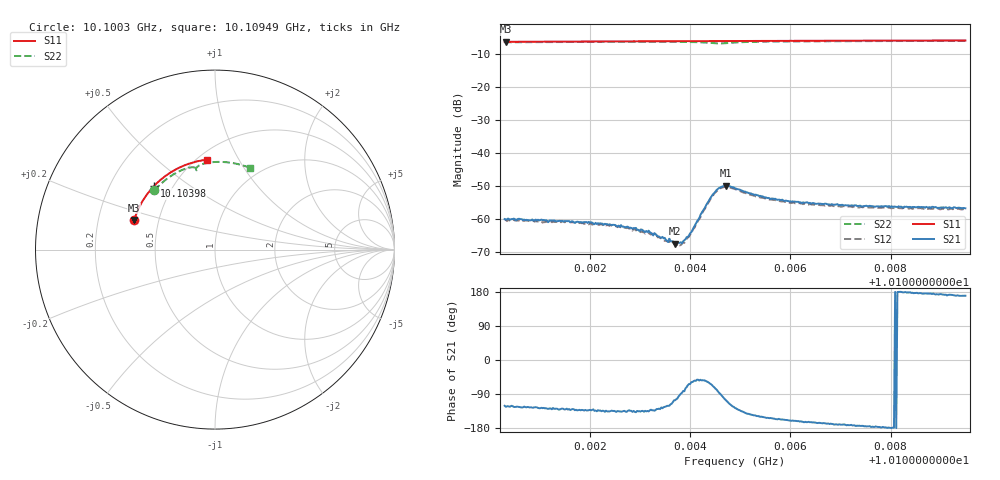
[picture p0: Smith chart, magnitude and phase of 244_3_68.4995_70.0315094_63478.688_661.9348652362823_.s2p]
#  HZ  S  RI  R  50.00
! Rohde & Schwarz Vector Network Analyzer
! Rohde-Schwarz,ZNB20-2Port,1311601062101988,3.16
! Created: UTC 3/20/2024, 4:59:35 PM
! freq[Hz]  re:S11  im:S11  re:S21  im:S21  re:S12  im:S12  re:S22  im:S22
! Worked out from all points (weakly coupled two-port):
!   401 points, 10.1003 GHz to 10.10949 GHz, reference 50 ohm
!   highest |S21| = -49.93 dB at 10.10471 GHz (marker M1); lowest = -67.5 dB at 10.1037 GHz (marker M2)
!   lowest |S11| = -6.4 dB at 10.10032 GHz (marker M3), VSWR 2.84, Z = 18.1 + j7.72 ohm
!   |S11| at or under -10 dB: nowhere
!   |S22| runs from -6.9 to -6.1 dB; largest |S21 - S12| = 0.00033
!   S11 on the Smith chart (normalised r, x): 10.1003 GHz: 0.36, +0.15; 10.10398 GHz: 0.40, +0.37; 10.10949 GHz: 0.56, +0.74
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1.0100297e10  -0.451 0.163  -0.000513 -0.00086  -0.000447 -0.000859  -0.3374 0.3302
1.010032e10  -0.4505 0.1644  -0.000542 -0.000826  -0.00047 -0.000862  -0.3365 0.3315
1.0101838e10  -0.4152 0.2497  -0.000594 -0.000666  -0.000528 -0.000689  -0.2637 0.3974
1.0102389e10  -0.3984 0.2788  -0.000597 -0.000584  -0.000515 -0.000601  -0.2337 0.4175
1.0102872e10  -0.3821 0.3031  -0.000512 -0.000523  -0.000469 -0.000553  -0.2058 0.4332
1.0103171e10  -0.3713 0.3178  -0.000479 -0.000467  -0.000398 -0.000468  -0.1875 0.4418
1.0103378e10  -0.3635 0.3276  -0.00034 -0.000428  -0.000297 -0.000447  -0.1744 0.4472
1.01037e10  -0.3506 0.3424  -0.000118 -0.000407  -6.28e-05 -0.000401  -0.1529 0.4546
1.0103792e10  -0.347 0.3467  -1.95e-05 -0.000438  3.37e-06 -0.0004  -0.1463 0.4563
1.0103838e10  -0.3449 0.3488  2.67e-05 -0.000427  5.24e-05 -0.00042  -0.143 0.457
1.0103976e10  -0.3393 0.3548  0.000249 -0.0005  0.000264 -0.000472  -0.1325 0.4586
1.0104367e10  -0.3223 0.3714  0.00096 -0.00161  0.00104 -0.00145  -0.1029 0.452
1.0104459e10  -0.3185 0.3751  0.000839 -0.00224  0.000995 -0.00205  -0.0997 0.4468
1.0104574e10  -0.3134 0.3797  0.00021 -0.00294  0.000484 -0.0028  -0.1011 0.442
1.0104712e10  -0.3072 0.3853  -0.000874 -0.00306  -0.000589 -0.00299  -0.1055 0.4451
1.0104896e10  -0.2988 0.3927  -0.00174 -0.00236  -0.00147 -0.00242  -0.1022 0.4571
1.0105195e10  -0.2847 0.4041  -0.00197 -0.00146  -0.00174 -0.00157  -0.084 0.4712
1.0105563e10  -0.2668 0.4172  -0.00186 -0.000953  -0.00168 -0.00104  -0.0585 0.4801
1.0105999e10  -0.2445 0.4316  -0.00174 -0.000646  -0.00158 -0.000747  -0.029 0.4855
1.0106436e10  -0.2218 0.4451  -0.00168 -0.000459  -0.00155 -0.00058  -0.000119 0.4882
1.0107977e10  -0.136 0.4815  -0.00157 -3.17e-05  -0.00147 -0.000204  0.0994 0.482
1.0109494e10  -0.0464 0.5007  -0.00143 0.000264  -0.00143 0.000128  0.1926 0.4562
